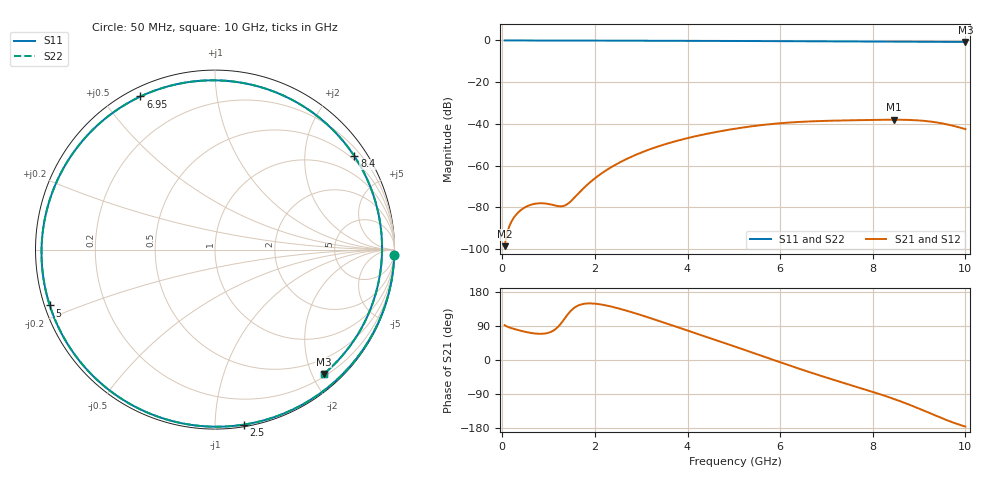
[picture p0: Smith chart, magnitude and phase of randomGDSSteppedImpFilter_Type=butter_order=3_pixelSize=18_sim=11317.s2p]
! freq	dB(S11)	phase(S11)	dB(S12)	phase(S12)
!  dB(S21)	phase(S21)	dB(S22)	phase(S22)
!S-par simulation data
#  GHz  S  DB  R 50
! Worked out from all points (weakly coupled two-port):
!   200 points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, 50 MHz to 10 GHz, reference 50 ohm
!   highest |S21| = -37.98 dB at 8.45 GHz (marker M1); lowest = -98.6 dB at 50 MHz (marker M2)
!   lowest |S11| = -0.7 dB at 10 GHz (marker M3), VSWR 24.17, Z = 12 - j109 ohm
!   |S11| at or under -10 dB: nowhere
!   |S22| runs from -0.7 to 0.0 dB; largest |S21 - S12| = 0
!   S11 on the Smith chart (normalised r, x): 50 MHz: 1, -68; 2.5 GHz: 0.01, -1.18; 5 GHz: 0.01, -0.16; 6.95 GHz: 0.04, +0.62; 8.4 GHz: 0.39, +3.24; 10 GHz: 0.24, -2.18
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0.05  -0.00 -1.7  -98.58 92.0  -98.58 92.0  -0.00 -1.7
0.45  -0.02 -14.9  -80.51 75.6  -80.51 75.6  -0.02 -14.9
0.8  -0.03 -26.3  -78.02 69.1  -78.02 69.1  -0.03 -26.3
1.3  -0.05 -42.5  -79.42 101.5  -79.42 101.5  -0.05 -42.5
1.45  -0.06 -47.4  -77.67 125.8  -77.67 125.8  -0.06 -47.4
1.75  -0.07 -56.9  -70.92 147.9  -70.92 147.9  -0.07 -56.9
2.5  -0.10 -80.6  -58.88 136.4  -58.88 136.4  -0.10 -80.6
3.4  -0.14 -108.8  -50.54 102.4  -50.54 102.4  -0.14 -108.8
4.2  -0.19 -134.3  -45.77 69.6  -45.77 69.6  -0.19 -134.2
5  -0.25 -161.3  -42.39 36.4  -42.39 36.4  -0.25 -161.3
5.05  -0.25 -163.1  -42.21 34.3  -42.21 34.3  -0.25 -163.1
5.9  -0.34 164.4  -39.87 -1.7  -39.87 -1.7  -0.34 164.4
6.7  -0.43 128.5  -38.74 -34.7  -38.74 -34.7  -0.43 128.5
6.95  -0.46 116.0  -38.55 -44.5  -38.55 -44.5  -0.46 116.0
7.3  -0.49 97.4  -38.36 -57.8  -38.36 -57.8  -0.49 97.4
7.65  -0.53 77.7  -38.21 -70.9  -38.21 -70.9  -0.53 77.8
8.35  -0.58 36.8  -37.99 -98.2  -37.99 -98.2  -0.58 36.8
8.4  -0.58 33.8  -37.99 -100.3  -37.99 -100.3  -0.58 33.9
8.45  -0.59 30.9  -37.98 -102.5  -37.98 -102.5  -0.59 31.0
8.8  -0.61 10.9  -38.10 -118.5  -38.10 -118.5  -0.61 11.0
9.15  -0.63 -8.1  -38.62 -136.0  -38.62 -136.0  -0.63 -8.0
10  -0.72 -48.8  -42.49 -175.7  -42.49 -175.7  -0.72 -48.7
